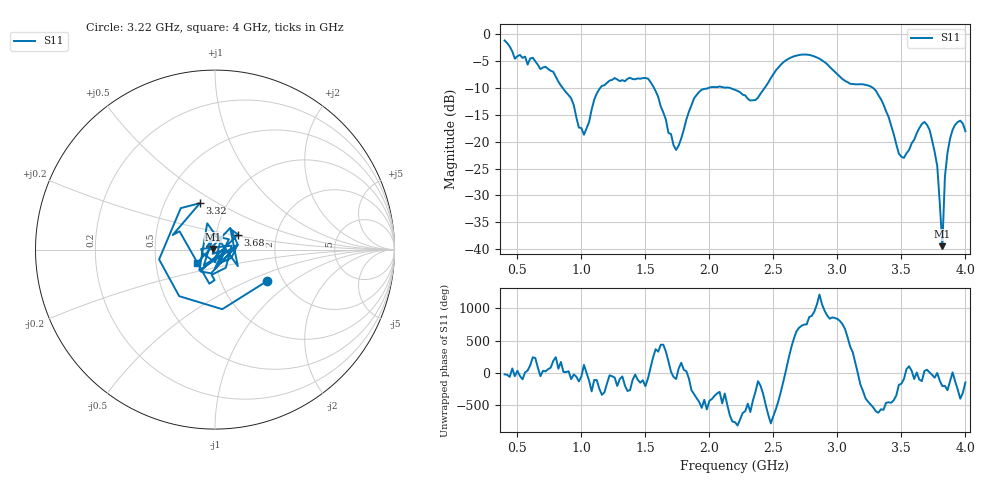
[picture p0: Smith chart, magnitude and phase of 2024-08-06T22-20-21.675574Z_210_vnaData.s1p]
!Created with skrf (http://scikit-rf.org).
# Hz S RI R 50.0
!freq ReS11 ImS11
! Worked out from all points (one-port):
!   181 points, 400 MHz to 4 GHz, reference 50 ohm
!   lowest |S11| = -39.5 dB at 3.82 GHz (marker M1), VSWR 1.02, Z = 49 + j0.38 ohm
!   |S11| at or under -10 dB: 854.8 MHz to 1.146 GHz (291.6 MHz wide, 29.1 % of centre); 1.568 GHz to 1.991 GHz (422.8 MHz wide, 23.8 % of centre); 3.28 GHz to end of sweep (the widest 3 of 4)
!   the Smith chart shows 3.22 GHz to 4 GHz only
!   S11 on the Smith chart (normalised r, x): 3.22 GHz: 1.65, -0.66; 3.32 GHz: 0.75, +0.42; 3.68 GHz: 1.27, +0.22; 4 GHz: 0.81, -0.12
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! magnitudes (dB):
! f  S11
! 400 MHz  -1.1
! 480 MHz  -4.5
! 620 MHz  -4.4
! 860 MHz  -10.2
! 1.02 GHz  -18.7
! 1.14 GHz  -10.2
! 1.3 GHz  -8.7
! 1.52 GHz  -8.2
! 1.72 GHz  -20.7
! 1.76 GHz  -20.7
! 1.92 GHz  -10.7
! 2.2 GHz  -10.3
! 2.36 GHz  -12.2
! 2.66 GHz  -4.1
! 2.86 GHz  -4.5
! 3.1 GHz  -9.2
! 3.22 GHz  -9.4
! 3.32 GHz  -11.3
! 3.48 GHz  -22.2
! 3.56 GHz  -21.5
! 3.68 GHz  -16.3
! 3.72 GHz  -17.8
! 3.78 GHz  -24.5
! 3.82 GHz  -39.5
! 3.84 GHz  -26.5
! 3.88 GHz  -19.4
! 3.96 GHz  -16.1
! 4 GHz  -18.0
